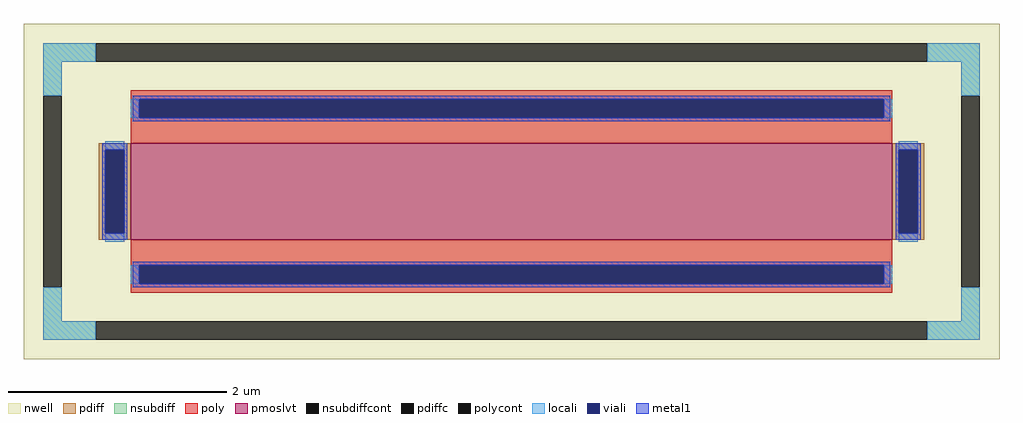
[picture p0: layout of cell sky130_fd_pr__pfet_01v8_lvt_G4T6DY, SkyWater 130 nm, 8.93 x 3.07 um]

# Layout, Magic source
magic
tech sky130A
magscale 1 2
<< nwell >>
rect -893 -307 893 307
<< pmoslvt >>
rect -697 -88 697 88
<< pdiff >>
rect -755 76 -697 88
rect -755 -76 -743 76
rect -709 -76 -697 76
rect -755 -88 -697 -76
rect 697 76 755 88
rect 697 -76 709 76
rect 743 -76 755 76
rect 697 -88 755 -76
<< pdiffc >>
rect -743 -76 -709 76
rect 709 -76 743 76
<< nsubdiff >>
rect -857 237 -761 271
rect 761 237 857 271
rect -857 175 -823 237
rect 823 175 857 237
rect -857 -237 -823 -175
rect 823 -237 857 -175
rect -857 -271 -761 -237
rect 761 -271 857 -237
<< nsubdiffcont >>
rect -761 237 761 271
rect -857 -175 -823 175
rect 823 -175 857 175
rect -761 -271 761 -237
<< poly >>
rect -697 169 697 185
rect -697 135 -681 169
rect 681 135 697 169
rect -697 88 697 135
rect -697 -135 697 -88
rect -697 -169 -681 -135
rect 681 -169 697 -135
rect -697 -185 697 -169
<< polycont >>
rect -681 135 681 169
rect -681 -169 681 -135
<< locali >>
rect -857 237 -761 271
rect 761 237 857 271
rect -857 175 -823 237
rect 823 175 857 237
rect -697 135 -681 169
rect 681 135 697 169
rect -743 76 -709 92
rect -743 -92 -709 -76
rect 709 76 743 92
rect 709 -92 743 -76
rect -697 -169 -681 -135
rect 681 -169 697 -135
rect -857 -237 -823 -175
rect 823 -237 857 -175
rect -857 -271 -761 -237
rect 761 -271 857 -237
<< viali >>
rect -681 135 681 169
rect -743 -76 -709 76
rect 709 -76 743 76
rect -681 -169 681 -135
<< metal1 >>
rect -693 169 693 175
rect -693 135 -681 169
rect 681 135 693 169
rect -693 129 693 135
rect -749 76 -703 88
rect -749 -76 -743 76
rect -709 -76 -703 76
rect -749 -88 -703 -76
rect 703 76 749 88
rect 703 -76 709 76
rect 743 -76 749 76
rect 703 -88 749 -76
rect -693 -135 693 -129
rect -693 -169 -681 -135
rect 681 -169 693 -135
rect -693 -175 693 -169
<< properties >>
string FIXED_BBOX -840 -254 840 254
string gencell sky130_fd_pr__pfet_01v8_lvt
string library sky130
string parameters w 0.88 l 6.97 m 1 nf 1 diffcov 100 polycov 100 guard 1 glc 1 grc 1 gtc 1 gbc 1 tbcov 100 rlcov 100 topc 1 botc 1 poverlap 0 doverlap 1 lmin 0.35 wmin 0.42 compatible {sky130_fd_pr__pfet_01v8  sky130_fd_pr__pfet_01v8_lvt sky130_fd_pr__pfet_01v8_hvt  sky130_fd_pr__pfet_g5v0d10v5} full_metal 1 viasrc 100 viadrn 100 viagate 100 viagb 0 viagr 0 viagl 0 viagt 0
<< end >>
